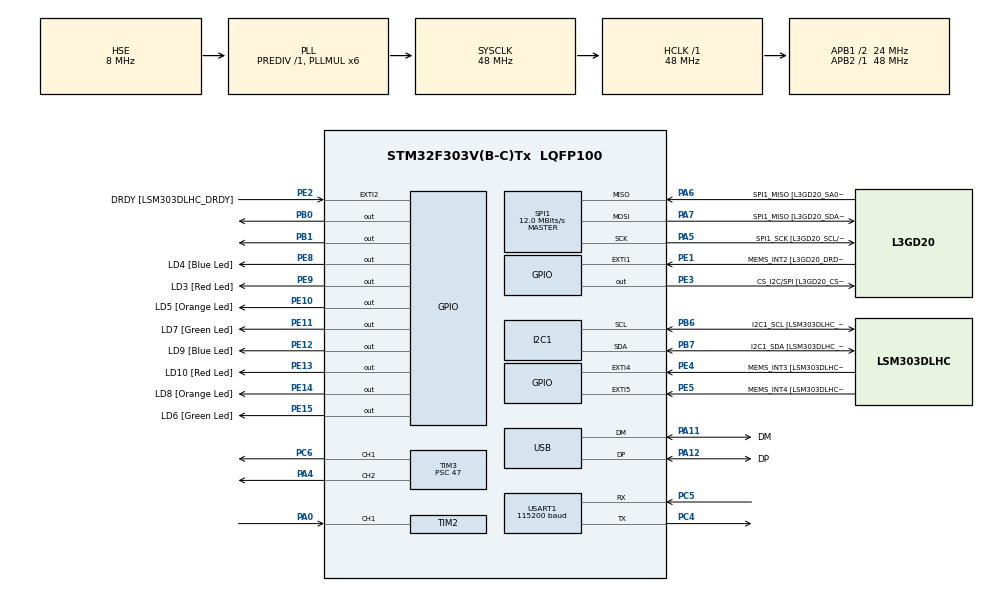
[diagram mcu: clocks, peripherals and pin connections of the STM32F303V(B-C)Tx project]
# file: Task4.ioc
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I2C1.Timing=0x2000090E
I2C1.Timing-I2C=0x2000090E
Mcu.Family=STM32F3
Mcu.Name=STM32F303V(B-C)Tx
Mcu.Package=LQFP100
NVIC.PriorityGroup=NVIC_PRIORITYGROUP_0
NVIC.TIM2_IRQn=true\:0\:0\:false\:false\:true\:true\:true\:true
PA0.Signal=S_TIM2_CH1_ETR
PA11.GPIO_Label=DM
PA11.Mode=Device
PA11.Signal=USB_DM
PA12.GPIO_Label=DP
PA12.Mode=Device
PA12.Signal=USB_DP
PA13.GPIO_Label=SWDIO
PA13.Mode=Serial_Wire
PA13.Signal=SYS_JTMS-SWDIO
PA14.GPIO_Label=SWCLK
PA14.Mode=Serial_Wire
PA14.Signal=SYS_JTCK-SWCLK
PA4.Signal=S_TIM3_CH2
PA5.GPIO_Label=SPI1_SCK [L3GD20_SCL/SPC]
PA5.Mode=Full_Duplex_Master
PA5.Signal=SPI1_SCK
PA6.GPIO_Label=SPI1_MISO [L3GD20_SA0/SDO]
PA6.Mode=Full_Duplex_Master
PA6.Signal=SPI1_MISO
PA7.GPIO_Label=SPI1_MISO [L3GD20_SDA/SDI/SDO]
PA7.Mode=Full_Duplex_Master
PA7.Signal=SPI1_MOSI
PB0.Signal=GPIO_Output
PB1.Signal=GPIO_Output
PB3.GPIO_Label=SWO
PB3.Signal=SYS_JTDO-TRACESWO
PB6.GPIO_Label=I2C1_SCL [LSM303DLHC_SCL]
PB6.GPIO_Pu=GPIO_PULLUP
PB6.Mode=I2C
PB6.Signal=I2C1_SCL
PB7.GPIO_Label=I2C1_SDA [LSM303DLHC_SDA]
PB7.GPIO_Pu=GPIO_PULLUP
PB7.Mode=I2C
PB7.Signal=I2C1_SDA
PC14-OSC32_IN.GPIO_Label=OSC32_IN
PC14-OSC32_IN.Signal=RCC_OSC32_IN
PC15-OSC32_OUT.GPIO_Label=OSC32_OUT
PC15-OSC32_OUT.Signal=RCC_OSC32_OUT
PC4.Mode=Asynchronous
PC4.Signal=USART1_TX
PC5.Mode=Asynchronous
PC5.Signal=USART1_RX
PC6.Signal=S_TIM3_CH1
PE1.GPIO_Label=MEMS_INT2 [L3GD20_DRDY/INT2]
PE1.GPIO_ModeDefaultEXTI=GPIO_MODE_EVT_RISING
PE1.Signal=GPXTI1
PE10.GPIO_Label=LD5 [Orange Led]
PE10.Signal=GPIO_Output
PE11.GPIO_Label=LD7 [Green Led]
PE11.Signal=GPIO_Output
PE12.GPIO_Label=LD9 [Blue Led]
PE12.Signal=GPIO_Output
PE13.GPIO_Label=LD10 [Red Led]
PE13.Signal=GPIO_Output
PE14.GPIO_Label=LD8 [Orange Led]
PE14.Signal=GPIO_Output
PE15.GPIO_Label=LD6 [Green Led]
PE15.Signal=GPIO_Output
PE2.GPIO_Label=DRDY [LSM303DLHC_DRDY]
PE2.GPIO_ModeDefaultEXTI=GPIO_MODE_EVT_RISING
PE2.Signal=GPXTI2
PE3.GPIO_Label=CS_I2C/SPI [L3GD20_CS_I2C/SPI]
PE3.Signal=GPIO_Output
PE4.GPIO_Label=MEMS_INT3 [LSM303DLHC_INT1]
PE4.GPIO_ModeDefaultEXTI=GPIO_MODE_EVT_RISING
PE4.Signal=GPXTI4
PE5.GPIO_Label=MEMS_INT4 [LSM303DLHC_INT2]
PE5.GPIO_ModeDefaultEXTI=GPIO_MODE_EVT_RISING
PE5.Signal=GPXTI5
PE8.GPIO_Label=LD4 [Blue Led]
PE8.Signal=GPIO_Output
PE9.GPIO_Label=LD3 [Red Led]
PE9.Signal=GPIO_Output
PF0-OSC_IN.GPIO_Label=OSC_IN
PF0-OSC_IN.Mode=HSE-External-Clock-Source
PF0-OSC_IN.Signal=RCC_OSC_IN
PF1-OSC_OUT.GPIO_Label=OSC_OUT
PF1-OSC_OUT.Signal=RCC_OSC_OUT
ProjectManager.HeapSize=0x200
ProjectManager.StackSize=0x400
ProjectManager.TargetToolchain=CMake
RCC.AHBFreq_Value=48000000
RCC.APB1CLKDivider=RCC_HCLK_DIV2
RCC.APB1Freq_Value=24000000
RCC.APB1TimFreq_Value=48000000
RCC.APB2Freq_Value=48000000
RCC.APB2TimFreq_Value=48000000
RCC.CortexFreq_Value=48000000
RCC.HCLKFreq_Value=48000000
RCC.HSE_VALUE=8000000
RCC.HSI_VALUE=8000000
RCC.LSE_VALUE=32768
RCC.PLLMUL=RCC_PLL_MUL6
RCC.SYSCLKFreq_VALUE=48000000
RCC.SYSCLKSourceVirtual=RCC_SYSCLKSOURCE_PLLCLK
RCC.USBFreq_Value=48000000
SH.S_TIM2_CH1_ETR.0=TIM2_CH1,Input_Capture1_from_TI1
SH.S_TIM3_CH1.0=TIM3_CH1,PWM Generation1 CH1
SH.S_TIM3_CH2.0=TIM3_CH2,PWM Generation2 CH2
SPI1.BaudRatePrescaler=SPI_BAUDRATEPRESCALER_4
SPI1.BaudRatePrescaler-Full_Duplex_Master=SPI_BAUDRATEPRESCALER_2
SPI1.CalculateBaudRate=12.0 MBits/s
SPI1.CalculateBaudRate-Full_Duplex_Master=24.0 MBits/s
SPI1.Direction=SPI_DIRECTION_2LINES
SPI1.Mode=SPI_MODE_MASTER
SPI1.Mode-Full_Duplex_Master=SPI_MODE_MASTER
SPI1.VirtualType=VM_MASTER
TIM2.Channel-Input_Capture1_from_TI1=TIM_CHANNEL_1
TIM2.Prescaler=71
TIM3.Channel-PWM\ Generation1\ CH1=TIM_CHANNEL_1
TIM3.Channel-PWM\ Generation2\ CH2=TIM_CHANNEL_2
TIM3.Period=999
TIM3.Prescaler=47
USART1.BaudRate=115200
USART1.VirtualMode-Asynchronous=VM_ASYNC
VP_TIM2_VS_ClockSourceINT.Mode=Internal
VP_TIM3_VS_ClockSourceINT.Mode=Internal
board=STM32F3DISCOVERY

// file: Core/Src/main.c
/* USER CODE BEGIN Header */
/**
  ******************************************************************************
  * @file           : main.c
  * @brief          : Main program body
  ******************************************************************************
  * @attention
  *
  * Copyright (c) 2026 STMicroelectronics.
  * All rights reserved.
  *
  * This software is licensed under terms that can be found in the LICENSE file
  * in the root directory of this software component.
  * If no LICENSE file comes with this software, it is provided AS-IS.
  *
  ******************************************************************************
  */
/* USER CODE END Header */
#include "main.h"

/* USER CODE BEGIN Includes */
#include <stdio.h>
#include <string.h>
#include <stdint.h>
/* USER CODE END Includes */

/* USER CODE BEGIN PD */
#define PPR 330.0f
/* USER CODE END PD */

I2C_HandleTypeDef hi2c1;

SPI_HandleTypeDef hspi1;

TIM_HandleTypeDef htim2;
TIM_HandleTypeDef htim3;

UART_HandleTypeDef huart1;

PCD_HandleTypeDef hpcd_USB_FS;

/* USER CODE BEGIN PV */
volatile float frequency = 0;
volatile float motor_rpm = 0.0;
/* USER CODE END PV */

void SystemClock_Config(void);
static void MX_GPIO_Init(void);
static void MX_I2C1_Init(void);
static void MX_SPI1_Init(void);
static void MX_TIM2_Init(void);
static void MX_USART1_UART_Init(void);
static void MX_USB_PCD_Init(void);
static void MX_TIM3_Init(void);

int main(void)
{

  /* MCU Configuration--------------------------------------------------------*/

  /* Reset of all peripherals, Initializes the Flash interface and the Systick. */
  HAL_Init();

  /* Configure the system clock */
  SystemClock_Config();

  /* Initialize all configured peripherals */
  MX_GPIO_Init();
  MX_I2C1_Init();
  MX_SPI1_Init();
  MX_TIM2_Init();
  MX_USART1_UART_Init();
  MX_USB_PCD_Init();
  MX_TIM3_Init();
  /* USER CODE BEGIN 2 */

  HAL_TIM_IC_Start_IT(&htim2, TIM_CHANNEL_1);
  HAL_TIM_PWM_Start(&htim3, TIM_CHANNEL_1);
  HAL_TIM_PWM_Start(&htim3, TIM_CHANNEL_2);
  __HAL_TIM_SET_COMPARE(&htim3, TIM_CHANNEL_1, 999);
  __HAL_TIM_SET_COMPARE(&htim3, TIM_CHANNEL_2, 500);
  HAL_GPIO_WritePin(GPIOB, GPIO_PIN_1, GPIO_PIN_SET);
  HAL_GPIO_WritePin(GPIOB, GPIO_PIN_0, GPIO_PIN_RESET);
  HAL_Delay(100);
  /* USER CODE END 2 */

  /* Infinite loop */
  /* USER CODE BEGIN WHILE */
  while (1)
{
    char buffer[64];
    int len = snprintf(buffer, sizeof(buffer), "Frequency: %.2f Hz, RPM: %.2f\r\n", frequency, motor_rpm);
    HAL_UART_Transmit(&huart1, (uint8_t *)buffer, (uint16_t)len, HAL_MAX_DELAY);
    HAL_Delay(500);
    /* USER CODE END WHILE */

  }
}

void SystemClock_Config(void)
{
  RCC_OscInitTypeDef RCC_OscInitStruct = {0};
  RCC_ClkInitTypeDef RCC_ClkInitStruct = {0};
  RCC_PeriphCLKInitTypeDef PeriphClkInit = {0};

  /** Initializes the RCC Oscillators according to the specified parameters
  * in the RCC_OscInitTypeDef structure.
  */
  RCC_OscInitStruct.OscillatorType = RCC_OSCILLATORTYPE_HSI|RCC_OSCILLATORTYPE_HSE;
  RCC_OscInitStruct.HSEState = RCC_HSE_BYPASS;
  RCC_OscInitStruct.HSEPredivValue = RCC_HSE_PREDIV_DIV1;
  RCC_OscInitStruct.HSIState = RCC_HSI_ON;
  RCC_OscInitStruct.HSICalibrationValue = RCC_HSICALIBRATION_DEFAULT;
  RCC_OscInitStruct.PLL.PLLState = RCC_PLL_ON;
  RCC_OscInitStruct.PLL.PLLSource = RCC_PLLSOURCE_HSE;
  RCC_OscInitStruct.PLL.PLLMUL = RCC_PLL_MUL6;
  if (HAL_RCC_OscConfig(&RCC_OscInitStruct) != HAL_OK)
  {
    Error_Handler();
  }

  /** Initializes the CPU, AHB and APB buses clocks
  */
  RCC_ClkInitStruct.ClockType = RCC_CLOCKTYPE_HCLK|RCC_CLOCKTYPE_SYSCLK
                              |RCC_CLOCKTYPE_PCLK1|RCC_CLOCKTYPE_PCLK2;
  RCC_ClkInitStruct.SYSCLKSource = RCC_SYSCLKSOURCE_PLLCLK;
  RCC_ClkInitStruct.AHBCLKDivider = RCC_SYSCLK_DIV1;
  RCC_ClkInitStruct.APB1CLKDivider = RCC_HCLK_DIV2;
  RCC_ClkInitStruct.APB2CLKDivider = RCC_HCLK_DIV1;

  if (HAL_RCC_ClockConfig(&RCC_ClkInitStruct, FLASH_LATENCY_1) != HAL_OK)
  {
    Error_Handler();
  }
  PeriphClkInit.PeriphClockSelection = RCC_PERIPHCLK_USB|RCC_PERIPHCLK_USART1
                              |RCC_PERIPHCLK_I2C1;
  PeriphClkInit.Usart1ClockSelection = RCC_USART1CLKSOURCE_PCLK2;
  PeriphClkInit.I2c1ClockSelection = RCC_I2C1CLKSOURCE_HSI;
  PeriphClkInit.USBClockSelection = RCC_USBCLKSOURCE_PLL;
  if (HAL_RCCEx_PeriphCLKConfig(&PeriphClkInit) != HAL_OK)
  {
    Error_Handler();
  }
}

static void MX_I2C1_Init(void)
{

  hi2c1.Instance = I2C1;
  hi2c1.Init.Timing = 0x2000090E;
  hi2c1.Init.OwnAddress1 = 0;
  hi2c1.Init.AddressingMode = I2C_ADDRESSINGMODE_7BIT;
  hi2c1.Init.DualAddressMode = I2C_DUALADDRESS_DISABLE;
  hi2c1.Init.OwnAddress2 = 0;
  hi2c1.Init.OwnAddress2Masks = I2C_OA2_NOMASK;
  hi2c1.Init.GeneralCallMode = I2C_GENERALCALL_DISABLE;
  hi2c1.Init.NoStretchMode = I2C_NOSTRETCH_DISABLE;
  if (HAL_I2C_Init(&hi2c1) != HAL_OK)
  {
    Error_Handler();
  }

  /** Configure Analogue filter
  */
  if (HAL_I2CEx_ConfigAnalogFilter(&hi2c1, I2C_ANALOGFILTER_ENABLE) != HAL_OK)
  {
    Error_Handler();
  }

  /** Configure Digital filter
  */
  if (HAL_I2CEx_ConfigDigitalFilter(&hi2c1, 0) != HAL_OK)
  {
    Error_Handler();
  }

}

static void MX_SPI1_Init(void)
{

  /* SPI1 parameter configuration*/
  hspi1.Instance = SPI1;
  hspi1.Init.Mode = SPI_MODE_MASTER;
  hspi1.Init.Direction = SPI_DIRECTION_2LINES;
  hspi1.Init.DataSize = SPI_DATASIZE_4BIT;
  hspi1.Init.CLKPolarity = SPI_POLARITY_LOW;
  hspi1.Init.CLKPhase = SPI_PHASE_1EDGE;
  hspi1.Init.NSS = SPI_NSS_SOFT;
  hspi1.Init.BaudRatePrescaler = SPI_BAUDRATEPRESCALER_4;
  hspi1.Init.FirstBit = SPI_FIRSTBIT_MSB;
  hspi1.Init.TIMode = SPI_TIMODE_DISABLE;
  hspi1.Init.CRCCalculation = SPI_CRCCALCULATION_DISABLE;
  hspi1.Init.CRCPolynomial = 7;
  hspi1.Init.CRCLength = SPI_CRC_LENGTH_DATASIZE;
  hspi1.Init.NSSPMode = SPI_NSS_PULSE_ENABLE;
  if (HAL_SPI_Init(&hspi1) != HAL_OK)
  {
    Error_Handler();
  }

}

static void MX_TIM2_Init(void)
{

  TIM_ClockConfigTypeDef sClockSourceConfig = {0};
  TIM_MasterConfigTypeDef sMasterConfig = {0};
  TIM_IC_InitTypeDef sConfigIC = {0};

  htim2.Instance = TIM2;
  htim2.Init.Prescaler = 71;
  htim2.Init.CounterMode = TIM_COUNTERMODE_UP;
  htim2.Init.Period = 4294967295;
  htim2.Init.ClockDivision = TIM_CLOCKDIVISION_DIV1;
  htim2.Init.AutoReloadPreload = TIM_AUTORELOAD_PRELOAD_DISABLE;
  if (HAL_TIM_Base_Init(&htim2) != HAL_OK)
  {
    Error_Handler();
  }
  sClockSourceConfig.ClockSource = TIM_CLOCKSOURCE_INTERNAL;
  if (HAL_TIM_ConfigClockSource(&htim2, &sClockSourceConfig) != HAL_OK)
  {
    Error_Handler();
  }
  if (HAL_TIM_IC_Init(&htim2) != HAL_OK)
  {
    Error_Handler();
  }
  sMasterConfig.MasterOutputTrigger = TIM_TRGO_RESET;
  sMasterConfig.MasterSlaveMode = TIM_MASTERSLAVEMODE_DISABLE;
  if (HAL_TIMEx_MasterConfigSynchronization(&htim2, &sMasterConfig) != HAL_OK)
  {
    Error_Handler();
  }
  sConfigIC.ICPolarity = TIM_INPUTCHANNELPOLARITY_RISING;
  sConfigIC.ICSelection = TIM_ICSELECTION_DIRECTTI;
  sConfigIC.ICPrescaler = TIM_ICPSC_DIV1;
  sConfigIC.ICFilter = 0;
  if (HAL_TIM_IC_ConfigChannel(&htim2, &sConfigIC, TIM_CHANNEL_1) != HAL_OK)
  {
    Error_Handler();
  }

}

static void MX_TIM3_Init(void)
{

  TIM_ClockConfigTypeDef sClockSourceConfig = {0};
  TIM_MasterConfigTypeDef sMasterConfig = {0};
  TIM_OC_InitTypeDef sConfigOC = {0};

  htim3.Instance = TIM3;
  htim3.Init.Prescaler = 47;
  htim3.Init.CounterMode = TIM_COUNTERMODE_UP;
  htim3.Init.Period = 999;
  htim3.Init.ClockDivision = TIM_CLOCKDIVISION_DIV1;
  htim3.Init.AutoReloadPreload = TIM_AUTORELOAD_PRELOAD_DISABLE;
  if (HAL_TIM_Base_Init(&htim3) != HAL_OK)
  {
    Error_Handler();
  }
  sClockSourceConfig.ClockSource = TIM_CLOCKSOURCE_INTERNAL;
  if (HAL_TIM_ConfigClockSource(&htim3, &sClockSourceConfig) != HAL_OK)
  {
    Error_Handler();
  }
  if (HAL_TIM_PWM_Init(&htim3) != HAL_OK)
  {
    Error_Handler();
  }
  sMasterConfig.MasterOutputTrigger = TIM_TRGO_RESET;
  sMasterConfig.MasterSlaveMode = TIM_MASTERSLAVEMODE_DISABLE;
  if (HAL_TIMEx_MasterConfigSynchronization(&htim3, &sMasterConfig) != HAL_OK)
  {
    Error_Handler();
  }
  sConfigOC.OCMode = TIM_OCMODE_PWM1;
  sConfigOC.Pulse = 0;
  sConfigOC.OCPolarity = TIM_OCPOLARITY_HIGH;
  sConfigOC.OCFastMode = TIM_OCFAST_DISABLE;
  if (HAL_TIM_PWM_ConfigChannel(&htim3, &sConfigOC, TIM_CHANNEL_1) != HAL_OK)
  {
    Error_Handler();
  }
  if (HAL_TIM_PWM_ConfigChannel(&htim3, &sConfigOC, TIM_CHANNEL_2) != HAL_OK)
  {
    Error_Handler();
  }
  HAL_TIM_MspPostInit(&htim3);

}

static void MX_USART1_UART_Init(void)
{

  huart1.Instance = USART1;
  huart1.Init.BaudRate = 115200;
  huart1.Init.WordLength = UART_WORDLENGTH_8B;
  huart1.Init.StopBits = UART_STOPBITS_1;
  huart1.Init.Parity = UART_PARITY_NONE;
  huart1.Init.Mode = UART_MODE_TX_RX;
  huart1.Init.HwFlowCtl = UART_HWCONTROL_NONE;
  huart1.Init.OverSampling = UART_OVERSAMPLING_16;
  huart1.Init.OneBitSampling = UART_ONE_BIT_SAMPLE_DISABLE;
  huart1.AdvancedInit.AdvFeatureInit = UART_ADVFEATURE_NO_INIT;
  if (HAL_UART_Init(&huart1) != HAL_OK)
  {
    Error_Handler();
  }

}

static void MX_USB_PCD_Init(void)
{

  hpcd_USB_FS.Instance = USB;
  hpcd_USB_FS.Init.dev_endpoints = 8;
  hpcd_USB_FS.Init.speed = PCD_SPEED_FULL;
  hpcd_USB_FS.Init.phy_itface = PCD_PHY_EMBEDDED;
  hpcd_USB_FS.Init.low_power_enable = DISABLE;
  hpcd_USB_FS.Init.battery_charging_enable = DISABLE;
  if (HAL_PCD_Init(&hpcd_USB_FS) != HAL_OK)
  {
    Error_Handler();
  }

}

static void MX_GPIO_Init(void)
{
  GPIO_InitTypeDef GPIO_InitStruct = {0};

  /* GPIO Ports Clock Enable */
  __HAL_RCC_GPIOE_CLK_ENABLE();
  __HAL_RCC_GPIOC_CLK_ENABLE();
  __HAL_RCC_GPIOF_CLK_ENABLE();
  __HAL_RCC_GPIOA_CLK_ENABLE();
  __HAL_RCC_GPIOB_CLK_ENABLE();

  /*Configure GPIO pin Output Level */
  HAL_GPIO_WritePin(GPIOE, CS_I2C_SPI_Pin|LD4_Pin|LD3_Pin|LD5_Pin
                          |LD7_Pin|LD9_Pin|LD10_Pin|LD8_Pin
                          |LD6_Pin, GPIO_PIN_RESET);

  /*Configure GPIO pin Output Level */
  HAL_GPIO_WritePin(GPIOB, GPIO_PIN_0|GPIO_PIN_1, GPIO_PIN_RESET);

  /*Configure GPIO pins : DRDY_Pin MEMS_INT3_Pin MEMS_INT4_Pin MEMS_INT2_Pin */
  GPIO_InitStruct.Pin = DRDY_Pin|MEMS_INT3_Pin|MEMS_INT4_Pin|MEMS_INT2_Pin;
  GPIO_InitStruct.Mode = GPIO_MODE_EVT_RISING;
  GPIO_InitStruct.Pull = GPIO_NOPULL;
  HAL_GPIO_Init(GPIOE, &GPIO_InitStruct);

  /*Configure GPIO pins : CS_I2C_SPI_Pin LD4_Pin LD3_Pin LD5_Pin
                           LD7_Pin LD9_Pin LD10_Pin LD8_Pin
                           LD6_Pin */
  GPIO_InitStruct.Pin = CS_I2C_SPI_Pin|LD4_Pin|LD3_Pin|LD5_Pin
                          |LD7_Pin|LD9_Pin|LD10_Pin|LD8_Pin
                          |LD6_Pin;
  GPIO_InitStruct.Mode = GPIO_MODE_OUTPUT_PP;
  GPIO_InitStruct.Pull = GPIO_NOPULL;
  GPIO_InitStruct.Speed = GPIO_SPEED_FREQ_LOW;
  HAL_GPIO_Init(GPIOE, &GPIO_InitStruct);

  /*Configure GPIO pins : PB0 PB1 */
  GPIO_InitStruct.Pin = GPIO_PIN_0|GPIO_PIN_1;
  GPIO_InitStruct.Mode = GPIO_MODE_OUTPUT_PP;
  GPIO_InitStruct.Pull = GPIO_NOPULL;
  GPIO_InitStruct.Speed = GPIO_SPEED_FREQ_LOW;
  HAL_GPIO_Init(GPIOB, &GPIO_InitStruct);

}

/* USER CODE BEGIN 4 */

uint32_t ic_val1 = 0;
uint32_t ic_val2 = 0;
uint32_t diff = 0;
uint8_t is_first = 0;

void HAL_TIM_IC_CaptureCallback(TIM_HandleTypeDef *htim)
{
    if (htim->Channel == HAL_TIM_ACTIVE_CHANNEL_1)
    {
        if (is_first == 0)
        {
            ic_val1 = HAL_TIM_ReadCapturedValue(htim, TIM_CHANNEL_1);
            is_first = 1;
        }
        else
        {
            ic_val2 = HAL_TIM_ReadCapturedValue(htim, TIM_CHANNEL_1);

            if (ic_val2 > ic_val1)
                diff = ic_val2 - ic_val1;
            else
                diff = (0xFFFFFFFF - ic_val1) + ic_val2;

            if (diff != 0) {
              frequency = 666666.67f / (float)diff;
              motor_rpm = (60.0f * frequency) / PPR;
            }

            is_first = 0;
        }
    }
}

/* USER CODE END 4 */

void Error_Handler(void)
{
  __disable_irq();
  while (1)
  {
  }
}
